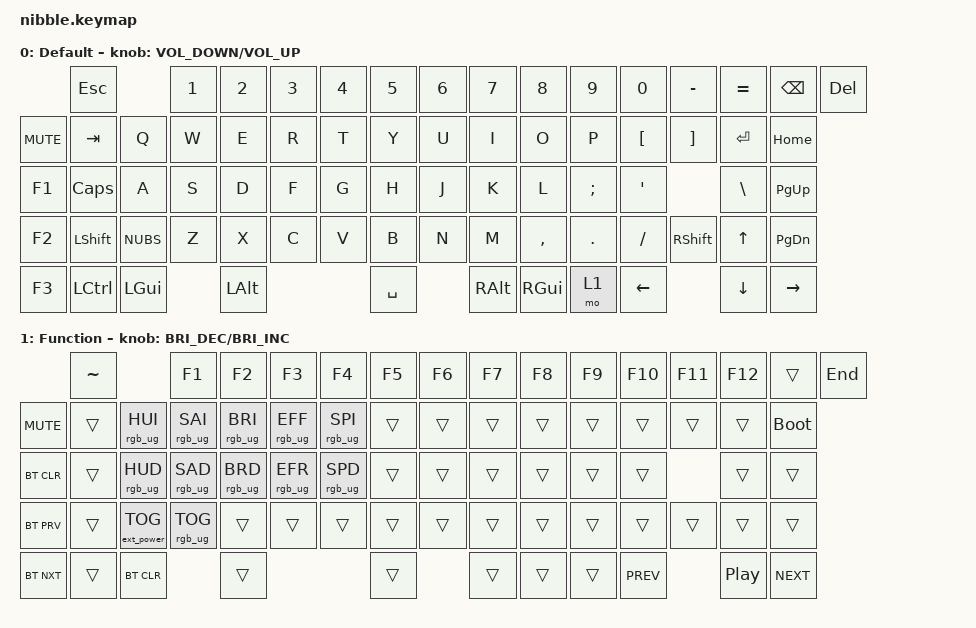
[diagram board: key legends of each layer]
/*
 * Copyright (c) 2020 The ZMK Contributors
 *
 * SPDX-License-Identifier: MIT
 */

#include <behaviors.dtsi>
#include <dt-bindings/zmk/keys.h>
#include <dt-bindings/zmk/rgb.h>
#include <dt-bindings/zmk/bt.h>
#include <dt-bindings/zmk/ext_power.h>
#include <../boards/shields/nibble/boards/nice_nano.overlay>

/ {
    sensors {
        compatible = "zmk,keymap-sensors";
        sensors = <&encoder_1>;
    };

    keymap {
        compatible = "zmk,keymap";

        default_layer {
            label = "Default";
            sensor-bindings = <&inc_dec_kp C_VOLUME_DOWN C_VOLUME_UP>;
            bindings = <
              &kp ESC    &kp N1    &kp N2  &kp N3  &kp N4     &kp N5  &kp N6  &kp N7           &kp N8     &kp N9    &kp N0  &kp MINUS  &kp EQUAL   &kp BSPC      &kp DEL
&kp C_MUTE    &kp TAB     &kp Q     &kp W   &kp E   &kp R      &kp T   &kp Y   &kp U            &kp I      &kp O     &kp P   &kp LBKT   &kp RBKT  &kp ENTER     &kp HOME
    &kp F1   &kp CLCK     &kp A     &kp S   &kp D   &kp F      &kp G   &kp H   &kp J            &kp K      &kp L  &kp SEMI    &kp SQT   &kp BSLH               &kp PG_UP
    &kp F2  &kp LSHFT    &kp NUBS     &kp Z   &kp X   &kp C      &kp V   &kp B   &kp N            &kp M  &kp COMMA   &kp DOT   &kp FSLH  &kp RSHFT     &kp UP    &kp PG_DN
    &kp F3  &kp LCTRL  &kp LGUI  &kp LALT                  &kp SPACE                  &kp RALT   &kp RGUI     &mo 1   &kp LEFT              &kp DOWN    &kp RIGHT
            >;
        };

        function_layer {
            label = "Function";
            sensor-bindings = <&inc_dec_kp C_BRIGHTNESS_DEC C_BRIGHTNESS_INC>;
            bindings = <
            &kp TILDE             &kp F1           &kp F2           &kp F3           &kp F4           &kp F5  &kp F6  &kp F7  &kp F8  &kp F9  &kp F10     &kp F11  &kp F12    &trans      &kp END
&kp C_MUTE     &trans    &rgb_ug RGB_HUI  &rgb_ug RGB_SAI  &rgb_ug RGB_BRI  &rgb_ug RGB_EFF  &rgb_ug RGB_SPI  &trans  &trans  &trans  &trans   &trans      &trans   &trans    &trans  &bootloader
&bt BT_CLR     &trans    &rgb_ug RGB_HUD  &rgb_ug RGB_SAD  &rgb_ug RGB_BRD  &rgb_ug RGB_EFR  &rgb_ug RGB_SPD  &trans  &trans  &trans  &trans   &trans      &trans             &trans       &trans
&bt BT_PRV     &trans  &ext_power EP_TOG  &rgb_ug RGB_TOG           &trans           &trans           &trans  &trans  &trans  &trans  &trans   &trans      &trans   &trans    &trans       &trans
&bt BT_NXT     &trans         &bt BT_CLR           &trans                                             &trans                  &trans  &trans   &trans  &kp C_PREV           &kp C_PP   &kp C_NEXT
            >;
        };
    };
};
